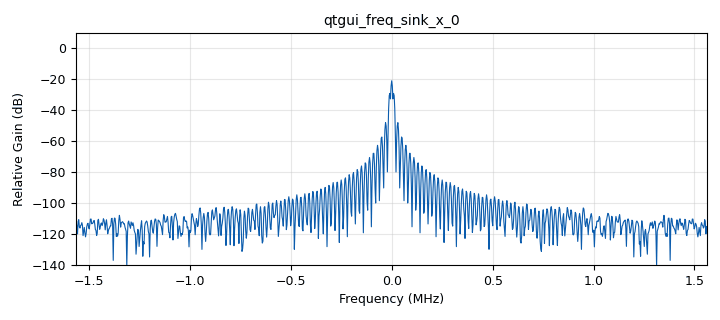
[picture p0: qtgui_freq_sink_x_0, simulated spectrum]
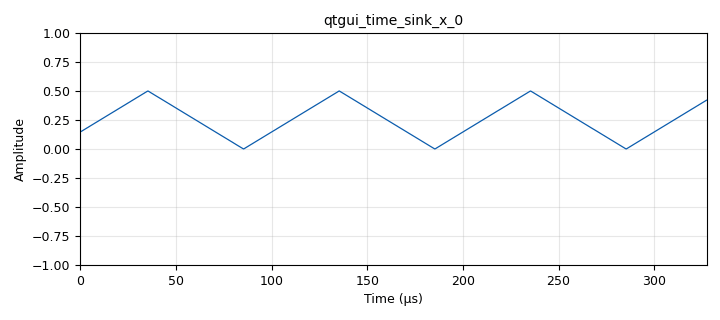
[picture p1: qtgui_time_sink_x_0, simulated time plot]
options:
  parameters:
    author: camilo_barreto_juan_camacho
    generate_options: qt_gui
    id: LAB2_PARTEB
    output_language: python
    title: Not titled yet
  states: {}

blocks:
- name: A
  id: variable_qtgui_range
  parameters:
    label: Amplitud Señal
    start: '0'
    step: '1e-2'
    stop: '0.5'
    value: '0.5'
  states: {}
- name: GTX
  id: variable_qtgui_range
  parameters:
    label: Ganancia Transmisor
    start: '0'
    step: '0.5'
    stop: '30'
    value: '0.5'
  states: {}
- name: 'No'
  id: variable_qtgui_range
  parameters:
    label: Amplitud Ruido
    start: '0'
    step: '1e-6'
    stop: '1e-1'
    value: '1e-4'
  states: {}
- name: fc
  id: variable_qtgui_range
  parameters:
    label: frecuencia portadora
    start: 50e6
    step: 1e5
    stop: 1e9
    value: 200e6
  states: {}
- name: fcut
  id: variable_qtgui_range
  parameters:
    label: frecuencia de corte
    start: '0'
    step: '100'
    stop: samp_rate/2
    value: samp_rate/2
  states: {}
- name: fm
  id: variable_qtgui_range
  parameters:
    label: Frecuencia Señal
    start: '1000'
    step: '1000'
    stop: 1e6
    value: '10000'
  states: {}
- name: samp_rate
  id: variable
  parameters:
    value: 25e6/8
  states: {}
- name: t_band
  id: variable_qtgui_range
  parameters:
    label: Banda de transicion
    start: '0'
    step: '100'
    stop: samp_rate/20
    value: samp_rate/20
  states: {}
- name: analog_noise_source_x_0
  id: analog_noise_source_x
  parameters:
    amp: 'No'
    noise_type: analog.GR_GAUSSIAN
    seed: '0'
    type: float
  states: {}
- name: analog_sig_source_x_0
  id: analog_sig_source_x
  parameters:
    amp: A
    freq: fm
    offset: '0'
    phase: '0'
    samp_rate: samp_rate
    type: float
    waveform: analog.GR_TRI_WAVE
  states: {}
- name: blocks_add_xx_0
  id: blocks_add_xx
  parameters:
    type: float
  states: {}
- name: blocks_float_to_complex_0
  id: blocks_float_to_complex
  parameters: {}
  states: {}
- name: blocks_throttle2_0
  id: blocks_throttle2
  parameters:
    samples_per_second: samp_rate
    type: float
  states: {}
- name: low_pass_filter_0
  id: low_pass_filter
  parameters:
    cutoff_freq: fcut
    decim: '1'
    gain: '1'
    samp_rate: samp_rate
    type: fir_filter_fff
    width: t_band
    win: window.WIN_HAMMING
  states: {}
- name: qtgui_freq_sink_x_0
  id: qtgui_freq_sink_x
  parameters:
    bw: samp_rate
    fc: '0'
    fftsize: '1024'
    name: qtgui_freq_sink_x_0
    type: float
  states: {}
- name: qtgui_time_sink_x_0
  id: qtgui_time_sink_x
  parameters:
    name: qtgui_time_sink_x_0
    size: '1024'
    srate: samp_rate
    type: float
  states: {}
- name: uhd_usrp_sink_0
  id: uhd_usrp_sink
  parameters:
    ant0: '"TX/RX"'
    center_freq0: fc
    gain0: GTX
    samp_rate: samp_rate
    sync: pc_clock
    type: fc32
  states: {}

connections:
- [analog_noise_source_x_0, '0', blocks_add_xx_0, '1']
- [analog_sig_source_x_0, '0', blocks_throttle2_0, '0']
- [blocks_add_xx_0, '0', low_pass_filter_0, '0']
- [blocks_float_to_complex_0, '0', uhd_usrp_sink_0, '0']
- [blocks_throttle2_0, '0', blocks_add_xx_0, '0']
- [low_pass_filter_0, '0', blocks_float_to_complex_0, '0']
- [low_pass_filter_0, '0', qtgui_freq_sink_x_0, '0']
- [low_pass_filter_0, '0', qtgui_time_sink_x_0, '0']

metadata:
  file_format: 1
  grc_version: v3.11.0.0git-810-g1ecb8565
